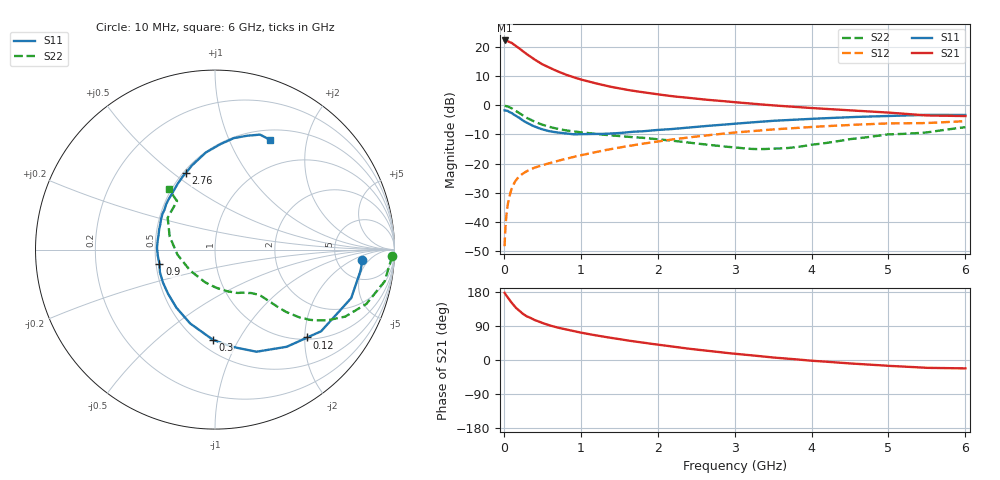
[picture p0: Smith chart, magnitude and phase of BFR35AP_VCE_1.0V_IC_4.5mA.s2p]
! Infineon Technologies  Discrete & RF Semiconductors
! BFR35AP
! VCE =  1.0 V,  IC =  4.5 mA
! Common Emitter S-Parameters:  Nov 2015
# GHz  S  MA  R  50
!  f  S11  S21  S12  S22
! GHz  MAG  ANG  MAG  ANG  MAG  ANG  MAG  ANG
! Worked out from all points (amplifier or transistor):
!   210 points, 10 MHz to 6 GHz, reference 50 ohm
!   highest |S21| = 22.3 dB at 10 MHz (marker M1)
!   |S21| within 3 dB of that: start of sweep to 213.5 MHz
!   unconditionally stable (mu >= 1): 749.8 MHz to end of sweep
!   at 185 MHz: K = 0.37, MSG = 22.4 dB, |S12| = -24.9 dB
!   at 1.52 GHz: K = 1.18, MAG = 7.6 dB, |S12| = -14.4 dB
!   at 6 GHz: K = 1.04, MAG = -0.3 dB, |S12| = -5.4 dB
!   S11 on the Smith chart (normalised r, x): 10 MHz: 9.10, -3.33; 120 MHz: 1.04, -2.06; 300 MHz: 0.59, -0.79; 900 MHz: 0.52, -0.09; 2.76 GHz: 0.52, +0.56; 6 GHz: 0.62, +1.43
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0.01  0.8234 -4.1  13.09 177.2  0.0038 86.4  0.9868 -2.1
0.025  0.815 -10.1  13 172.3  0.0097 82.7  0.9753 -5.3
0.05  0.8056 -19.6  12.75 165.1  0.0193 79.4  0.9615 -10.6
0.1  0.7459 -37.6  11.94 151.5  0.0364 70.9  0.8956 -19.8
0.12  0.7101 -43.6  11.39 146.8  0.0418 67.1  0.8617 -22.6
0.15  0.6727 -53.6  10.73 139.0  0.0502 63.0  0.8152 -27.3
0.2  0.6141 -67.9  9.565 129.8  0.0602 58.4  0.7395 -32.2
0.24  0.5601 -77.5  8.715 123.2  0.0661 55.5  0.6818 -35.3
0.3  0.5026 -91.3  7.594 115.0  0.0741 52.9  0.6088 -38.6
0.4  0.4341 -108.6  6.149 105.5  0.0851 50.6  0.5251 -41.3
0.5  0.3886 -123.6  5.098 97.5  0.0937 50.1  0.466 -42.6
0.6  0.3588 -136.9  4.395 91.0  0.1023 50.0  0.424 -43.4
0.7  0.3432 -147.7  3.849 85.5  0.111 50.6  0.3953 -44.1
0.9  0.3195 -165.6  3.062 76.3  0.1299 50.9  0.3579 -45.5
1.02  0.3207 -175.4  2.75 71.6  0.1408 51.2  0.3428 -46.7
1.4  0.3304 160.5  2.078 58.2  0.1776 50.8  0.3061 -52.2
2.02  0.3798 133.3  1.539 40.0  0.2417 47.0  0.2597 -66.2
2.76  0.4572 110.8  1.215 21.8  0.3178 39.5  0.2036 -94.1
3.1  0.4969 103.1  1.107 14.6  0.3502 35.2  0.1834 -113.3
4.1  0.5963 85.6  0.885 -3.2  0.4336 22.3  0.2181 -178.0
5.1  0.6645 73.0  0.736 -16.4  0.4916 8.7  0.3204 142.2
6  0.6843 63.5  0.656 -22.1  0.536 -0.9  0.4226 127.4
